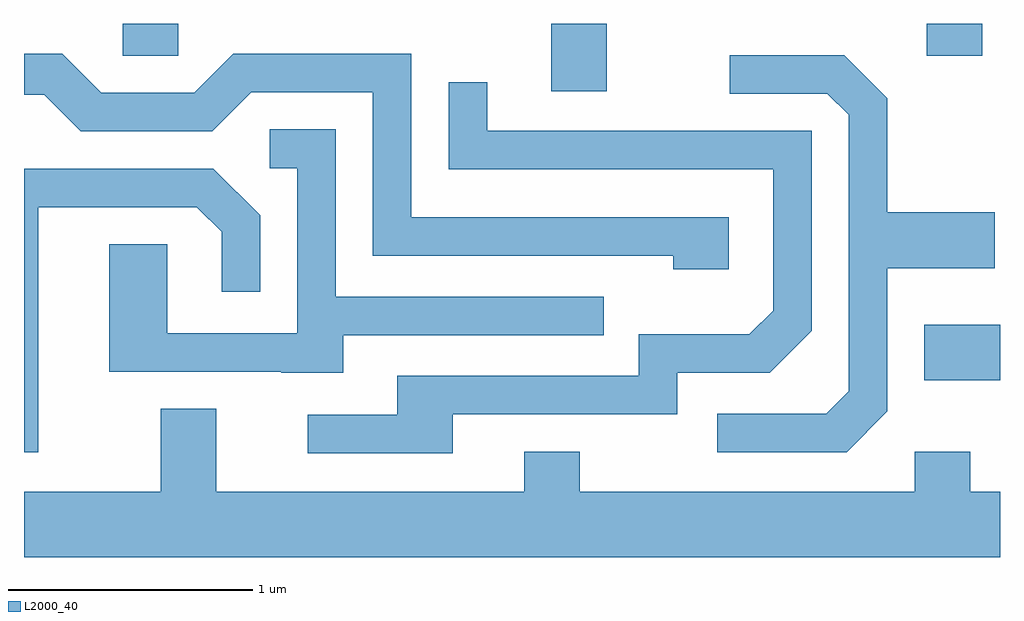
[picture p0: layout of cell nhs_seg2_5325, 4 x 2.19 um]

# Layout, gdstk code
import gdstk
lib = gdstk.Library(unit=1e-6, precision=1e-09)
def R(c, l, rs):  # rectangles x0, y0, x1, y1
    for r in rs: c.add(gdstk.rectangle(r[:2], r[2:], *l))
def P(c, l, *ps):  # polygons
    for p in ps: c.add(gdstk.Polygon(p, *l))
L2000_40 = (2000, 40)

nhs_seg2_5325 = lib.new_cell('nhs_seg2_5325')
R(nhs_seg2_5325, L2000_40, [(345.301,1082.341,345.611,1082.569), (343.771,1083.526,343.999,1083.802), (342.016,1083.671,342.244,1083.802), (345.311,1083.671,345.539,1083.802)])
P(nhs_seg2_5325, L2000_40, [(344.499,1083.009),(343.199,1083.009),(343.199,1083.679),(342.469,1083.679),(342.309,1083.519),(341.927,1083.519),(341.767,1083.679),(341.611,1083.679),(341.611,1083.511),(341.694,1083.511),(341.844,1083.361),(342.382,1083.361),(342.542,1083.521),(343.041,1083.521),(343.041,1082.851),(344.271,1082.851),(344.271,1082.796),(344.499,1082.796)],
  [(345.149,1082.214),(345.149,1082.801),(345.589,1082.801),(345.589,1083.029),(345.149,1083.029),(345.149,1083.497),(344.972,1083.674),(344.503,1083.674),(344.503,1083.516),(344.904,1083.516),(344.991,1083.429),(344.991,1082.297),(344.899,1082.204),(344.453,1082.204),(344.453,1082.046),(344.982,1082.046)],
  [(343.369,1082.201),(344.289,1082.201),(344.289,1082.371),(344.667,1082.371),(344.839,1082.544),(344.839,1083.364),(343.509,1083.364),(343.509,1083.563),(343.351,1083.563),(343.351,1083.206),(344.681,1083.206),(344.681,1082.627),(344.584,1082.529),(344.131,1082.529),(344.131,1082.359),(343.141,1082.359),(343.141,1082.199),(342.773,1082.199),(342.773,1082.041),(343.369,1082.041)],
  [(342.919,1082.526),(343.988,1082.526),(343.988,1082.684),(342.889,1082.684),(342.889,1083.369),(342.618,1083.369),(342.618,1083.211),(342.731,1083.211),(342.731,1082.534),(342.199,1082.534),(342.199,1082.899),(341.961,1082.899),(341.961,1082.376),(342.665,1082.376),(342.665,1082.371),(342.919,1082.371)],
  [(341.669,1083.051),(342.319,1083.051),(342.421,1082.949),(342.421,1082.703),(342.579,1082.703),(342.579,1083.017),(342.387,1083.209),(341.611,1083.209),(341.611,1082.046),(341.669,1082.046)],
  [(345.611,1081.884),(345.489,1081.884),(345.489,1082.049),(345.261,1082.049),(345.261,1081.884),(343.889,1081.884),(343.889,1082.049),(343.661,1082.049),(343.661,1081.884),(342.399,1081.884),(342.399,1082.224),(342.171,1082.224),(342.171,1081.884),(341.611,1081.884),(341.611,1081.616),(345.611,1081.616)])

lib.write_gds('nhs_seg2_5325.gds')
